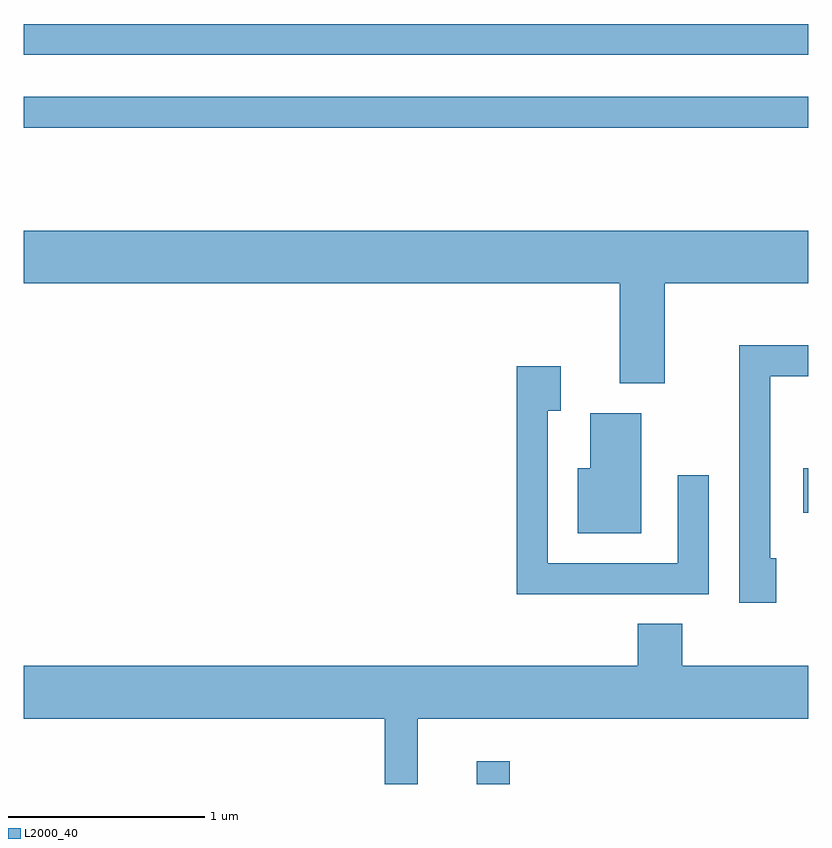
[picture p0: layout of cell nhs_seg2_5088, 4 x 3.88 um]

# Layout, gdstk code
import gdstk
lib = gdstk.Library(unit=1e-6, precision=1e-09)
def R(c, l, rs):  # rectangles x0, y0, x1, y1
    for r in rs: c.add(gdstk.rectangle(r[:2], r[2:], *l))
def P(c, l, *ps):  # polygons
    for p in ps: c.add(gdstk.Polygon(p, *l))
L2000_40 = (2000, 40)

nhs_seg2_5088 = lib.new_cell('nhs_seg2_5088')
R(nhs_seg2_5088, L2000_40, [(337.921,1005.802,338.089,1005.918), (339.586,1007.186,339.611,1007.414), (335.611,1009.151,339.611,1009.309), (335.611,1009.521,339.611,1009.679)])
P(nhs_seg2_5088, L2000_40, [(338.879,1008.356),(339.611,1008.356),(339.611,1008.624),(335.611,1008.624),(335.611,1008.356),(338.651,1008.356),(338.651,1007.846),(338.879,1007.846)],
  [(339.449,1006.954),(339.419,1006.954),(339.419,1007.881),(339.611,1007.881),(339.611,1008.039),(339.261,1008.039),(339.261,1006.726),(339.449,1006.726)],
  [(339.104,1007.378),(338.946,1007.378),(338.946,1006.929),(338.284,1006.929),(338.284,1007.706),(338.349,1007.706),(338.349,1007.934),(338.126,1007.934),(338.126,1006.771),(339.104,1006.771)],
  [(338.759,1007.694),(338.501,1007.694),(338.501,1007.414),(338.436,1007.414),(338.436,1007.081),(338.759,1007.081)],
  [(337.619,1006.136),(339.611,1006.136),(339.611,1006.404),(338.969,1006.404),(338.969,1006.619),(338.741,1006.619),(338.741,1006.404),(335.611,1006.404),(335.611,1006.136),(337.451,1006.136),(337.451,1005.802),(337.619,1005.802)])

lib.write_gds('nhs_seg2_5088.gds')
